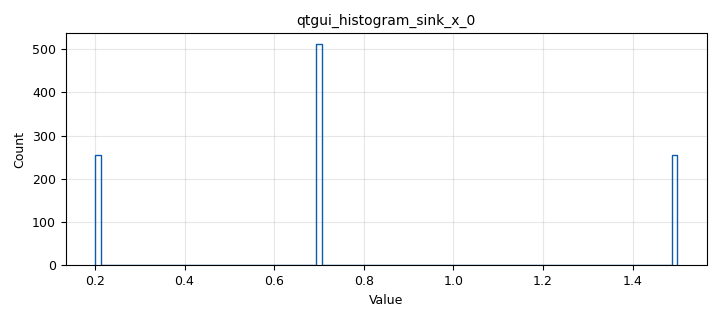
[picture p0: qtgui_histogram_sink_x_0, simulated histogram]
options:
  parameters:
    author: p
    generate_options: qt_gui
    id: week6_lecture-26
    output_language: python
    title: Not titled yet
  states: {}

blocks:
- name: samp_rate
  id: variable
  parameters:
    value: '19200'
  states: {}
- name: blocks_throttle2_0
  id: blocks_throttle2
  parameters:
    samples_per_second: samp_rate
    type: float
  states: {}
- name: blocks_vector_source_x_0
  id: blocks_vector_source_x
  parameters:
    repeat: 'True'
    type: float
    vector: '[0.2,0.7,1.5,0.7]'
  states: {}
- name: qtgui_histogram_sink_x_0
  id: qtgui_histogram_sink_x
  parameters:
    bins: '100'
    size: '1024'
    type: float
    xmax: '1'
    xmin: '-1'
  states: {}

connections:
- [blocks_throttle2_0, '0', qtgui_histogram_sink_x_0, '0']
- [blocks_vector_source_x_0, '0', blocks_throttle2_0, '0']

metadata:
  file_format: 1
  grc_version: 3.10.7.0
